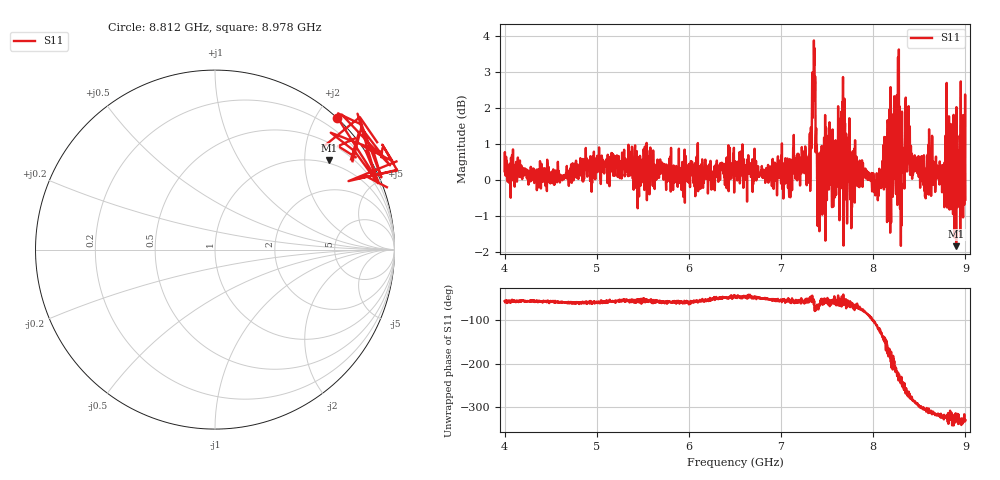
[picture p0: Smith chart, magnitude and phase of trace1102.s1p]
! Created with skrf 1.8.0 (http://scikit-rf.org).
# Hz S RI R 50.0
!freq ReS11 ImS11
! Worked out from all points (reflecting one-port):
!   1601 points, 4 GHz to 9 GHz, reference 50 ohm
!   lowest |S11| = -1.8 dB at 8.9 GHz (marker M1), VSWR 9.47, Z = 45.2 + j131 ohm
!   phase of S11 starts at -58 deg and turns -271 deg over the sweep
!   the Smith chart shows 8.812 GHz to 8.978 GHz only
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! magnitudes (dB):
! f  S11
! 4 GHz  0.2
! 4.625 GHz  0.0
! 5.25 GHz  0.0
! 5.875 GHz  0.2
! 6.5 GHz  0.3
! 7.125 GHz  0.6
! 7.294 GHz  -0.1
! 7.319 GHz  0.1
! 7.347 GHz  2.9
! 7.362 GHz  3.7
! 7.397 GHz  -1.3
! 7.422 GHz  -0.1
! 7.509 GHz  -0.3
! 7.619 GHz  2.0
! 7.669 GHz  1.0
! 7.75 GHz  -0.5
! 8.038 GHz  0.2
! 8.253 GHz  1.0
! 8.316 GHz  0.6
! 8.334 GHz  0.9
! 8.375 GHz  0.9
! 8.556 GHz  -0.3
! 8.616 GHz  0.1
! 8.766 GHz  -0.3
! 8.816 GHz  -0.1
! 8.9 GHz  -1.8
! 8.972 GHz  0.9
! 9 GHz  -0.6
